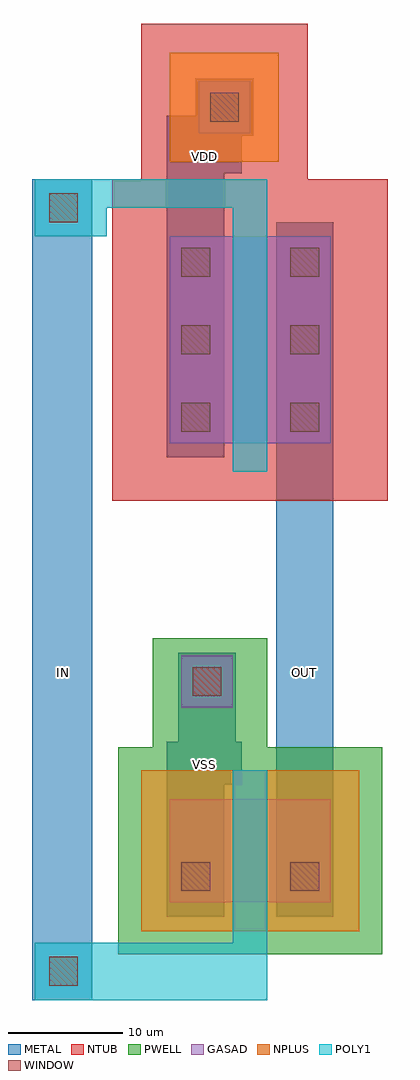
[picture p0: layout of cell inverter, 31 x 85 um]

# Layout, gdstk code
import gdstk
lib = gdstk.Library(unit=1e-6, precision=1e-09)
def R(c, l, rs):  # rectangles x0, y0, x1, y1
    for r in rs: c.add(gdstk.rectangle(r[:2], r[2:], *l))
def A(c, l, x, y, w, h, nx, ny, dx, dy):  # array of equal rectangles
    R(c, l, [(x+i*dx, y+j*dy, x+i*dx+w, y+j*dy+h) for i in range(nx) for j in range(ny)])
NTUB = (1, 0)
GASAD = (2, 0)
POLY1 = (4, 0)
NPLUS = (5, 0)
WINDOW = (6, 0)
METAL = (7, 0)
PWELL = (26, 0)

inverter = lib.new_cell('inverter')
R(inverter, NTUB, [(-10.5,35,13.5,63), (-8,62,6.5,76.5)])
R(inverter, GASAD, [(-5.5,0,8.5,9), (-4.5,17,0,21.5), (-5.5,40,8.5,58), (-3,67,1.5,71.5)])
R(inverter, POLY1, [(-17.25,-8.5,3,-3.5), (0,-8.5,3,0), (0,-2.5,3,11.5), (0,37.5,3,60.5), (-17.25,58,-11,63), (0,58,3,63), (-14,60.5,3,63)])
R(inverter, NPLUS, [(-8,-2.5,11,11.5), (-5.5,64.5,4,74)])
A(inverter, WINDOW, -4.5, 41, 2.5, 2.5, 1, 3, 0, 6.75)
A(inverter, WINDOW, 5, 41, 2.5, 2.5, 1, 3, 0, 6.75)
R(inverter, WINDOW, [(-16,-7.25,-13.5,-4.75), (-4.5,1,-2,3.5), (5,1,7.5,3.5), (-3.5,18,-1,20.5), (-16,59.25,-13.5,61.75), (-2,68,0.5,70.5)])
R(inverter, METAL, [(-17.5,-8.5,-12.25,63), (-5.75,-1.25,-0.75,10.25), (-5.75,-1.25,-0.75,10.25), (3.75,-1.25,8.75,10.25), (3.75,-1.25,8.75,59.25), (-5.75,10.25,0.75,14), (-4.75,12,0.25,17.75), (-4.75,16.75,0.25,21.75), (-5.75,38.75,-0.75,59.25), (-5.75,38.75,-0.75,59.25), (3.75,38.75,8.75,59.25), (-5.75,59.25,-0.75,68.5), (-5.75,63.5,0.75,68.5), (-3.25,66.75,1.75,71.75)])
R(inverter, PWELL, [(-10,-4.5,13,13.5), (-7,9,3,23)])
inverter.add(gdstk.Label('IN', (-14.75,20), layer=21, texttype=0))
inverter.add(gdstk.Label('OUT', (6.25,20), layer=21, texttype=0))
inverter.add(gdstk.Label('VSS', (-2.5,12), layer=21, texttype=0))
inverter.add(gdstk.Label('VDD', (-2.5,65), layer=21, texttype=0))

lib.write_gds('inverter.gds')
